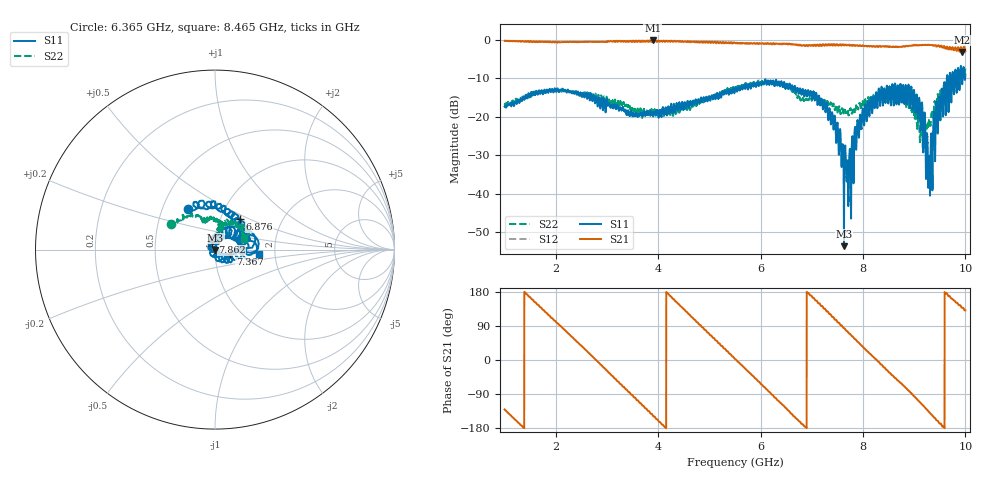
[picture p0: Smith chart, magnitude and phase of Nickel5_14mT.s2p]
#  HZ  S  RI  R  50.0
! Rohde & Schwarz ZVL13 2Ports - Version 3.31 - 1303.6509k13 SN: 101088
! Date: 2023-03-09 14:09:02
! Data & Calibration Information:
! Trc4:S11(TOSM) Trc2:S21(TOSM) Trc3:S12(TOSM) Trc5:S22(TOSM)
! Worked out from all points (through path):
!   4000 points, 1 GHz to 10 GHz, reference 50 ohm
!   highest |S21| = -0.16 dB at 3.892 GHz (marker M1); lowest = -3.2 dB at 9.941 GHz (marker M2)
!   group delay of S21, straight-line fit = 365 ps
!   lowest |S11| = -53.7 dB at 7.628 GHz (marker M3), VSWR 1.00, Z = 50.1 - j0.163 ohm
!   |S11| at or under -10 dB: start of sweep to 9.637 GHz; 9.651754 GHz to 9.687899 GHz (36.15 MHz wide, 0.374 % of centre); 9.708741 GHz to 9.740985 GHz (32.24 MHz wide, 0.332 % of centre)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
!   |S22| runs from -28.1 to -7.4 dB; largest |S21 - S12| = 0.071
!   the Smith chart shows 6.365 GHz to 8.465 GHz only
!   S11 on the Smith chart (normalised r, x): 6.365 GHz: 0.68, +0.33; 6.876 GHz: 1.23, +0.44; 7.367 GHz: 1.19, -0.06; 7.862 GHz: 0.97, +0.08; 8.465 GHz: 1.65, -0.08
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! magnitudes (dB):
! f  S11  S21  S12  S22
! 1 GHz  -17.4  -0.3  -0.2  -16.9
! 2.501 GHz  -14.5  -0.5  -0.6  -13.7
! 3.892 GHz  -19.1  -0.2  -0.3  -19.3
! 4 GHz  -19.4  -0.2  -0.2  -19.3
! 5.501 GHz  -13.1  -0.8  -0.9  -12.6
! 6.365 GHz  -11.3  -1.0  -1.2  -10.9
! 6.876 GHz  -13.2  -1.5  -1.6  -15.5
! 7 GHz  -15.0  -1.3  -1.4  -15.6
! 7.367 GHz  -21.0  -1.3  -1.1  -16.3
! 7.628 GHz  -53.7  -1.5  -1.2  -18.6
! 7.727 GHz  -32.6  -1.4  -1.2  -19.3
! 7.862 GHz  -27.0  -1.5  -1.5  -17.4
! 8.128 GHz  -19.8  -1.7  -1.7  -16.0
! 8.465 GHz  -12.1  -1.8  -1.6  -15.3
! 8.501 GHz  -15.4  -1.8  -1.8  -14.4
! 9.021 GHz  -19.0  -1.4  -1.3  -19.7
! 9.199 GHz  -19.1  -1.4  -1.3  -22.3
! 9.316 GHz  -37.4  -1.3  -1.4  -22.3
! 9.41 GHz  -29.3  -1.4  -1.5  -16.3
! 9.512 GHz  -21.0  -1.7  -1.7  -13.2
! 9.941 GHz  -11.1  -3.2  -2.5  -8.1
! 10 GHz  -9.0  -3.0  -2.6  -7.4
